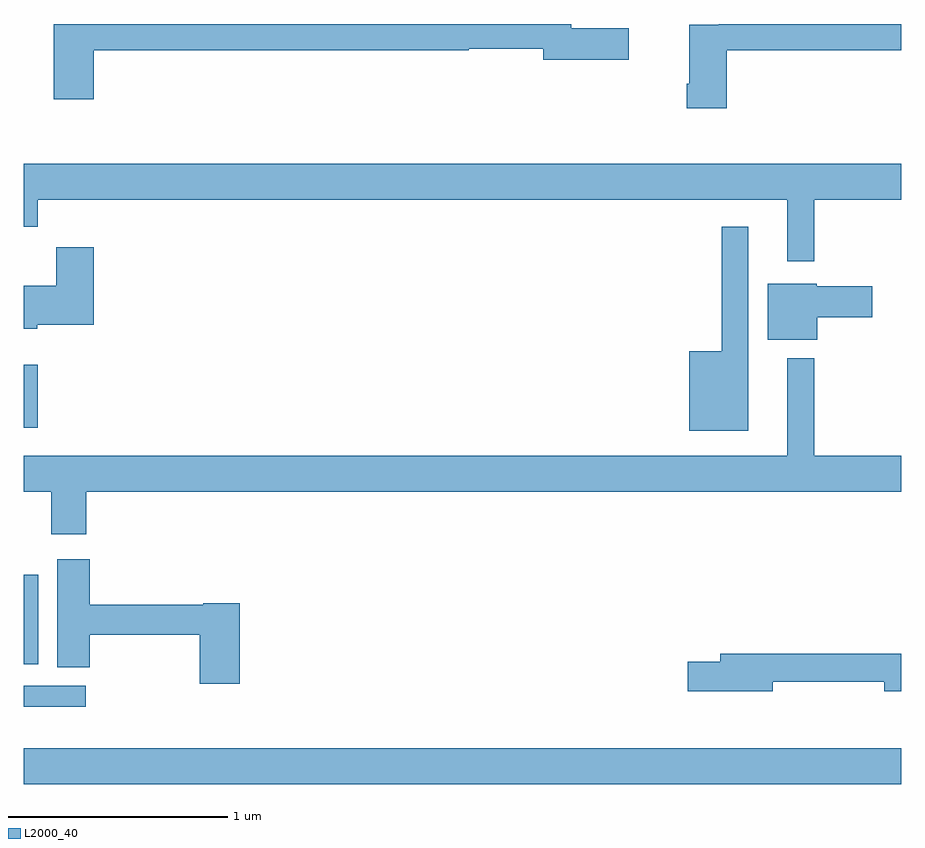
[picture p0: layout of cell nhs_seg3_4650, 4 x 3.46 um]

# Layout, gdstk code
import gdstk
lib = gdstk.Library(unit=1e-6, precision=1e-09)
def R(c, l, rs):  # rectangles x0, y0, x1, y1
    for r in rs: c.add(gdstk.rectangle(r[:2], r[2:], *l))
def P(c, l, *ps):  # polygons
    for p in ps: c.add(gdstk.Polygon(p, *l))
L2000_40 = (2000, 40)

nhs_seg3_4650 = lib.new_cell('nhs_seg3_4650')
R(nhs_seg3_4650, L2000_40, [(361,680.936,365,681.1), (361,681.288,361.282,681.384), (361,681.482,361.066,681.889), (361,682.56,361.064,682.846)])
P(nhs_seg3_4650, L2000_40, [(364.205,684.28),(365,684.28),(365,684.4),(364.168,684.4),(364.168,684.396),(364.034,684.396),(364.034,684.127),(364.022,684.127),(364.022,684.015),(364.205,684.015)],
  [(361.319,684.28),(363.028,684.28),(363.028,684.287),(363.368,684.287),(363.368,684.238),(363.757,684.238),(363.757,684.38),(363.496,684.38),(363.496,684.4),(361.136,684.4),(361.136,684.057),(361.319,684.057)],
  [(364.603,683.6),(365,683.6),(365,683.764),(361,683.764),(361,683.476),(361.064,683.476),(361.064,683.6),(364.481,683.6),(364.481,683.319),(364.603,683.319)],
  [(364.303,683.476),(364.182,683.476),(364.182,682.909),(364.034,682.909),(364.034,682.547),(364.303,682.547)],
  [(361.062,683.03),(361.319,683.03),(361.319,683.383),(361.148,683.383),(361.148,683.206),(361,683.206),(361,683.012),(361.062,683.012)],
  [(364.618,683.063),(364.867,683.063),(364.867,683.205),(364.614,683.205),(364.614,683.215),(364.391,683.215),(364.391,682.961),(364.618,682.961)],
  [(361,682.268),(361.126,682.268),(361.126,682.074),(361.286,682.074),(361.286,682.268),(365,682.268),(365,682.432),(364.603,682.432),(364.603,682.876),(364.481,682.876),(364.481,682.432),(361,682.432)],
  [(361.985,681.76),(361.818,681.76),(361.818,681.752),(361.301,681.752),(361.301,681.961),(361.154,681.961),(361.154,681.469),(361.301,681.469),(361.301,681.616),(361.802,681.616),(361.802,681.393),(361.985,681.393)],
  [(364.414,681.402),(364.922,681.402),(364.922,681.359),(365,681.359),(365,681.53),(364.175,681.53),(364.175,681.494),(364.026,681.494),(364.026,681.359),(364.414,681.359)])

lib.write_gds('nhs_seg3_4650.gds')
